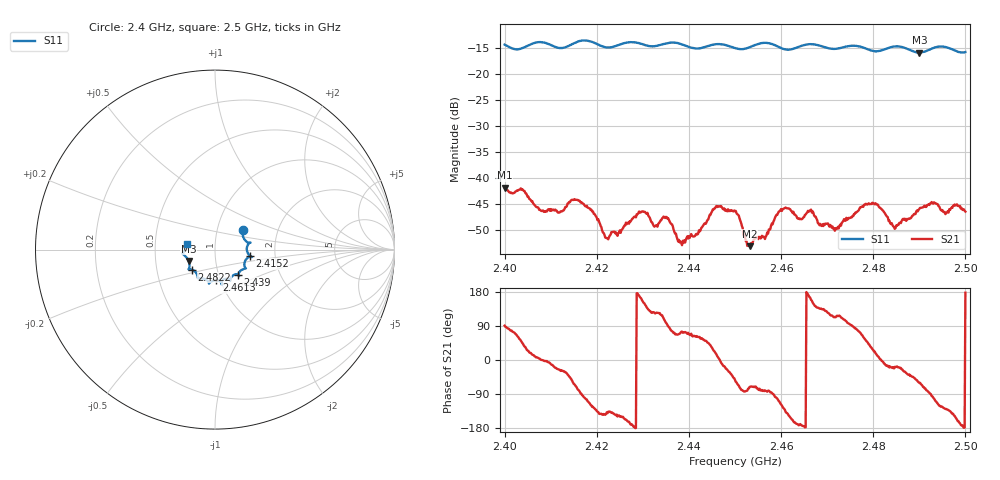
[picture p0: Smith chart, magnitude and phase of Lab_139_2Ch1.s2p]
# Hz S RI R 50
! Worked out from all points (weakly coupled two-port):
!   601 points, 2.4 GHz to 2.5 GHz, reference 50 ohm
!   highest |S21| = -41.81 dB at 2.4 GHz (marker M1); lowest = -53.0 dB at 2.4532 GHz (marker M2)
!   lowest |S11| = -15.9 dB at 2.49 GHz (marker M3), VSWR 1.38, Z = 36.9 - j4.84 ohm
!   |S11| at or under -10 dB: start of sweep to end of sweep
!   S12 and S22 are empty: the file has one direction only
!   S11 on the Smith chart (normalised r, x): 2.4 GHz: 1.33, +0.31; 2.4152 GHz: 1.48, -0.11; 2.439 GHz: 1.24, -0.36; 2.4613 GHz: 0.96, -0.34; 2.4822 GHz: 0.76, -0.17; 2.5 GHz: 0.72, +0.05
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2.4e9  0.1558 0.1108  -7.97e-05 0.00812  0 0  0 0
2.403833e9  0.1696 0.05  0.00554 0.00557  0 0  0 0
2.4085e9  0.1965 0.0392  0.00476 -0.00016  0 0  0 0
2.415167e9  0.1946 -0.0358  0.00273 -0.00568  0 0  0 0
2.416667e9  0.2043 -0.0418  8.94e-05 -0.00589  0 0  0 0
2.422167e9  0.1689 -0.0615  -0.00199 -0.00179  0 0  0 0
2.429667e9  0.1624 -0.1072  -0.00455 0.00148  0 0  0 0
2.433333e9  0.1327 -0.1327  -0.00205 0.00302  0 0  0 0
2.435167e9  0.1322 -0.1456  -0.000464 0.00422  0 0  0 0
2.439e9  0.1277 -0.139  0.000741 0.00243  0 0  0 0
2.446e9  0.085 -0.1734  0.00525 0.00133  0 0  0 0
2.45e9  0.0688 -0.1633  0.00294 -0.00383  0 0  0 0
2.453167e9  0.0378 -0.1763  0.000722 -0.00211  0 0  0 0
2.461333e9  0.00768 -0.1709  -0.00397 -0.00328  0 0  0 0
2.466667e9  -0.0333 -0.19  -0.00431 0.00184  0 0  0 0
2.471833e9  -0.0637 -0.162  -0.00129 0.00307  0 0  0 0
2.4785e9  -0.0988 -0.1438  0.00363 0.00435  0 0  0 0
2.482167e9  -0.1283 -0.1117  0.00484 -0.000463  0 0  0 0
2.483333e9  -0.1395 -0.1101  0.00375 -0.00105  0 0  0 0
2.485e9  -0.1471 -0.1103  0.00336 -0.00108  0 0  0 0
2.49e9  -0.1468 -0.0639  0.0025 -0.00442  0 0  0 0
2.5e9  -0.1585 0.0338  -0.00479 0.000204  0 0  0 0
